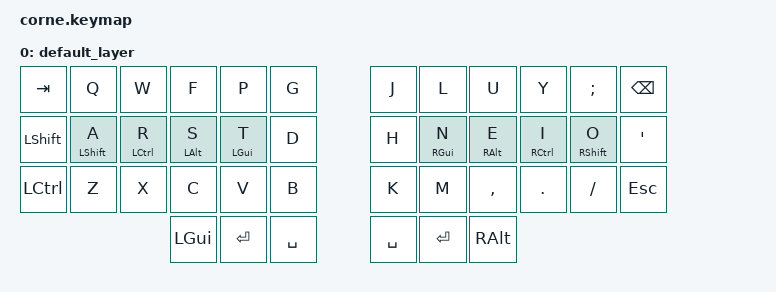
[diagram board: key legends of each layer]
#include <behaviors.dtsi>
#include <dt-bindings/zmk/keys.h>
#include <dt-bindings/zmk/bt.h>

/ {
    behaviors {
        hm: homerow_mods {
            compatible = "zmk,behavior-hold-tap";
            label = "HOMEROW_MODS";
            #binding-cells = <2>;
            tapping-term-ms = <200>;
            quick-tap-ms = <200>;
            require-prior-idle-ms = <150>; /* Chống dính phím Command/Shift/Ctrl/Alt khi gõ lướt */
            flavor = "tap-preferred";
            bindings = <&kp>, <&kp>;
        };
    };

    keymap {
        compatible = "zmk,keymap";

        default_layer {
            // Layout Colemak với Home Row Mods
            bindings = <
&kp TAB   &kp Q       &kp W       &kp F      &kp P      &kp G   &kp J &kp L      &kp U      &kp Y       &kp SEMI    &kp BSPC
&kp LSHFT &hm LSHFT A &hm LCTRL R &hm LALT S &hm LGUI T &kp D   &kp H &hm RGUI N &hm RALT E &hm RCTRL I &hm RSHFT O &kp SQT
&kp LCTRL &kp Z       &kp X       &kp C      &kp V      &kp B   &kp K &kp M      &kp COMMA  &kp DOT     &kp FSLH    &kp ESC
                      &kp LGUI    &kp RET    &kp SPACE          &kp SPACE &kp RET &kp RALT
            >;
        };
    };
};
